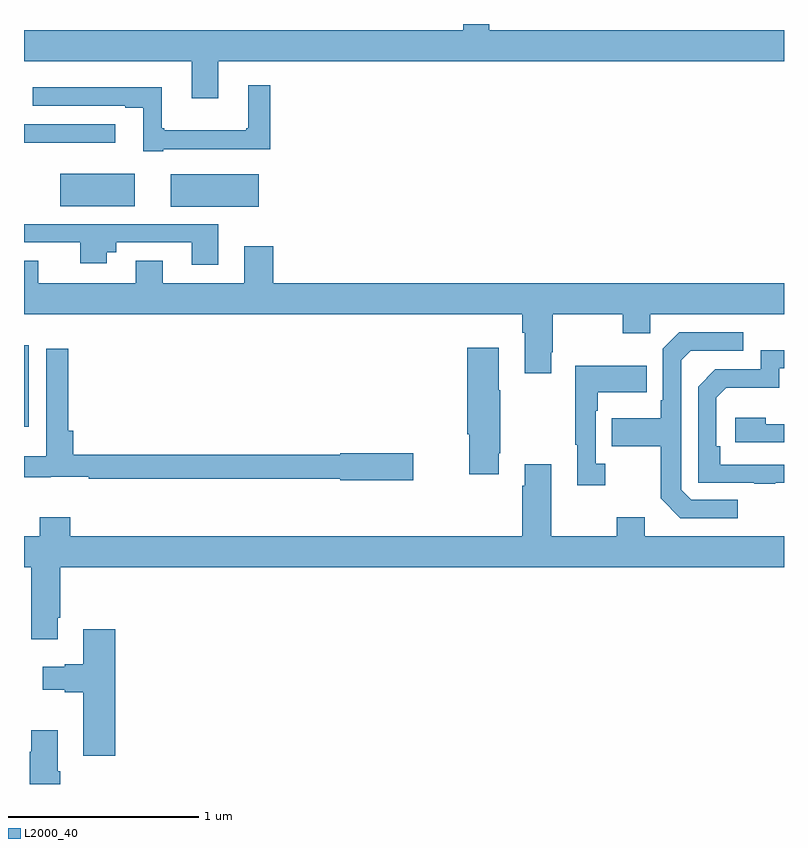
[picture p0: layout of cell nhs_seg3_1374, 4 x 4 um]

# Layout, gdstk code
import gdstk
lib = gdstk.Library(unit=1e-6, precision=1e-09)
def R(c, l, rs):  # rectangles x0, y0, x1, y1
    for r in rs: c.add(gdstk.rectangle(r[:2], r[2:], *l))
def P(c, l, *ps):  # polygons
    for p in ps: c.add(gdstk.Polygon(p, *l))
L2000_40 = (2000, 40)

nhs_seg3_1374 = lib.new_cell('nhs_seg3_1374')
R(nhs_seg3_1374, L2000_40, [(181,744.279,181.024,744.709), (181.772,745.439,182.236,745.609), (181.19,745.442,181.582,745.612), (181,745.775,181.48,745.872)])
P(nhs_seg3_1374, L2000_40, [(182.023,746.204),(185,746.204),(185,746.368),(183.449,746.368),(183.449,746.4),(183.313,746.4),(183.313,746.368),(181,746.368),(181,746.204),(181.883,746.204),(181.883,746.01),(182.023,746.01)],
  [(181.732,745.742),(182.297,745.742),(182.297,746.077),(182.18,746.077),(182.18,745.852),(182.169,745.852),(182.169,745.84),(181.738,745.84),(181.738,745.852),(181.726,745.852),(181.726,746.068),(181.047,746.068),(181.047,745.971),(181.532,745.971),(181.532,745.959),(181.628,745.959),(181.628,745.731),(181.732,745.731)],
  [(182.023,745.347),(181,745.347),(181,745.251),(181.295,745.251),(181.295,745.142),(181.435,745.142),(181.435,745.199),(181.486,745.199),(181.486,745.251),(181.883,745.251),(181.883,745.134),(182.023,745.134)],
  [(183.775,744.673),(183.783,744.673),(183.783,744.872),(184.15,744.872),(184.15,744.773),(184.296,744.773),(184.296,744.872),(185,744.872),(185,745.036),(182.312,745.036),(182.312,745.231),(182.159,745.231),(182.159,745.036),(181.729,745.036),(181.729,745.153),(181.589,745.153),(181.589,745.036),(181.075,745.036),(181.075,745.153),(181,745.153),(181,744.872),(183.623,744.872),(183.623,744.776),(183.635,744.776),(183.635,744.561),(183.775,744.561)],
  [(184.756,743.895),(184.512,743.895),(184.458,743.949),(184.458,744.63),(184.509,744.681),(184.786,744.681),(184.786,744.777),(184.449,744.777),(184.362,744.69),(184.362,744.421),(184.35,744.421),(184.35,744.325),(184.093,744.325),(184.093,744.178),(184.35,744.178),(184.35,743.905),(184.455,743.799),(184.756,743.799)],
  [(183.499,744.142),(183.507,744.142),(183.507,744.473),(183.499,744.473),(183.499,744.697),(183.332,744.697),(183.332,744.242),(183.344,744.242),(183.344,744.03),(183.499,744.03)],
  [(183.049,744.14),(182.664,744.14),(182.664,744.134),(181.259,744.134),(181.259,744.259),(181.232,744.259),(181.232,744.691),(181.116,744.691),(181.116,744.124),(181,744.124),(181,744.015),(181.14,744.015),(181.14,744.017),(181.342,744.017),(181.342,744.006),(182.664,744.006),(182.664,743.998),(183.049,743.998)],
  [(184.955,743.985),(185,743.985),(185,744.081),(184.664,744.081),(184.664,744.178),(184.644,744.178),(184.644,744.432),(184.697,744.485),(184.974,744.485),(184.974,744.588),(185,744.588),(185,744.684),(184.878,744.684),(184.878,744.582),(184.638,744.582),(184.548,744.492),(184.548,743.985),(184.843,743.985),(184.843,743.98),(184.955,743.98)],
  [(184.06,744.086),(184.008,744.086),(184.008,744.365),(184.021,744.365),(184.021,744.461),(184.277,744.461),(184.277,744.601),(183.9,744.601),(183.9,744.185),(183.911,744.185),(183.911,743.973),(184.06,743.973)],
  [(185,744.294),(184.904,744.294),(184.904,744.328),(184.743,744.328),(184.743,744.198),(185,744.198)],
  [(181.177,743.275),(181.19,743.275),(181.19,743.54),(185,743.54),(185,743.704),(184.267,743.704),(184.267,743.803),(184.12,743.803),(184.12,743.704),(183.775,743.704),(183.775,744.082),(183.635,744.082),(183.635,743.969),(183.623,743.969),(183.623,743.704),(181.244,743.704),(181.244,743.803),(181.084,743.803),(181.084,743.704),(181,743.704),(181,743.54),(181.037,743.54),(181.037,743.163),(181.177,743.163)],
  [(181.481,743.215),(181.313,743.215),(181.313,743.03),(181.214,743.03),(181.214,743.017),(181.098,743.017),(181.098,742.895),(181.214,742.895),(181.214,742.883),(181.313,742.883),(181.313,742.548),(181.481,742.548)],
  [(181.19,742.468),(181.177,742.468),(181.177,742.684),(181.037,742.684),(181.037,742.571),(181.03,742.571),(181.03,742.4),(181.19,742.4)])

lib.write_gds('nhs_seg3_1374.gds')
